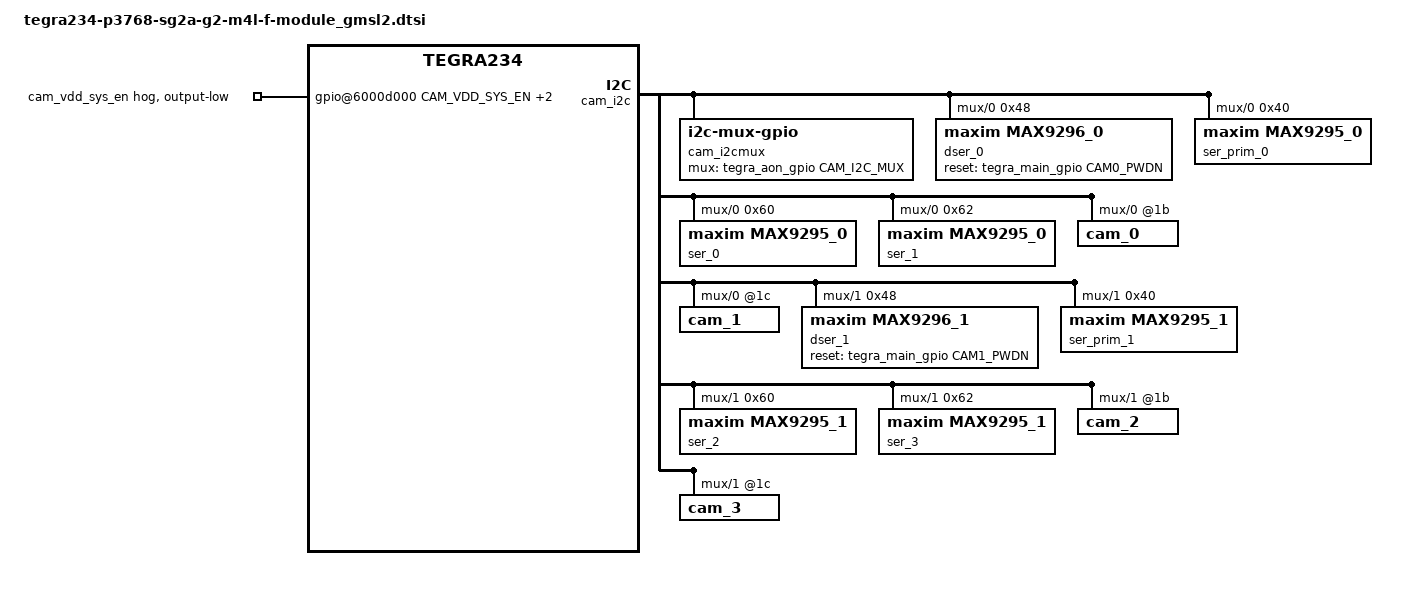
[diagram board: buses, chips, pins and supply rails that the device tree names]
/*
 * Copyright (c) 2018-2021, NVIDIA CORPORATION.  All rights reserved.
 *
 * This program is free software; you can redistribute it and/or modify it
 * under the terms and conditions of the GNU General Public License,
 * version 2, as published by the Free Software Foundation.
 *
 * This program is distributed in the hope it will be useful, but WITHOUT
 * ANY WARRANTY; without even the implied warranty of MERCHANTABILITY or
 * FITNESS FOR A PARTICULAR PURPOSE.  See the GNU General Public License for
 * more details.
 *
 * You should have received a copy of the GNU General Public License
 * along with this program.  If not, see <http://www.gnu.org/licenses/>.
 */

#include "dt-bindings/clock/tegra234-clock.h"

#if defined(SG8_AR0820C_GMSL2)
#include "sg8-ar0820c-gmsl2.dtsi"
#elif defined(SG8_IMX728C_GMSL2)
#include "sg8-imx728c-gmsl2.dtsi"
#elif defined(SG5_IMX490_GMSL2)
#include "sg5-imx490-gmsl2.dtsi"
#elif defined(SG2_AR0220_GMSL2)
#include "sg2-ar0220-gmsl2.dtsi"
#elif defined(SG1_TC358748_GMSL2)
#include "sg1-tc358748-gmsl2.dtsi"
#elif defined(SGX_YUV_GMSL2)
#include "sgx-yuv-gmsl2.dtsi"
#elif defined(SG8_IMX728C_G2G)
#include "sg8-imx728c-g2g.dtsi"
#include "sg3s-imx623c-gmsl2f.dtsi"
#endif

#define CAM_VDD_SYS_EN	TEGRA234_MAIN_GPIO(AC, 7)
#define CAM0_PWDN	TEGRA234_MAIN_GPIO(H, 6)
#define CAM1_PWDN	TEGRA234_MAIN_GPIO(AC, 0)
#define CAM_I2C_MUX 	TEGRA234_AON_GPIO(CC, 3)

/* camera control gpio definitions */
/ {

	gpio@6000d000 {
		camera-control-output-low {
			gpio-hog;
			output-low;
			gpios = <CAM_VDD_SYS_EN 0 CAM0_PWDN 0 CAM1_PWDN 0>;
			label = "cam_vdd_sys_en", "cam0-pwdn", "cam1-pwdn";
		};
	};
	
	cam_i2cmux {
		compatible = "i2c-mux-gpio";
		#address-cells = <1>;
		#size-cells = <0>;
		mux-gpios = <&tegra_aon_gpio CAM_I2C_MUX GPIO_ACTIVE_HIGH>;
		i2c-parent = <&cam_i2c>;

		i2c@0 {
			reg = <0>;
			#address-cells = <1>;
			#size-cells = <0>;
			dser_0: max9296_0@48 {
				compatible = "maxim,max9296_0";
				reg = <0x48>;
				csi-mode = "2x4";
				max-src = <2>;
				reset-gpios = <&tegra_main_gpio CAM0_PWDN GPIO_ACTIVE_HIGH>;
			};
			ser_prim_0: max9295_prim_0@40{
				compatible = "maxim,max9295_0";
				reg = <0x40>;
				is-prim-ser;
			};
			ser_0: max9295_0@60 {
				compatible = "maxim,max9295_0";
				reg = <0x60>;
				sensing,gmsl-dser-device = <&dser_0>;
			};
			ser_1: max9295_1@62 {
				compatible = "maxim,max9295_0";
				reg = <0x62>;
				sensing,gmsl-dser-device = <&dser_0>;
			};
			cam_0@1b {
				/* Define any required hw resources needed by driver */
				/* ie. clocks, io pins, power sources */
				clocks = <&bpmp_clks TEGRA234_CLK_EXTPERIPH1>,
						<&bpmp_clks TEGRA234_CLK_EXTPERIPH1>;
				clock-names = "extperiph1", "pllp_grtba";
				mclk = "extperiph1";
				sensing,gmsl-ser-device = <&ser_0>;
				sensing,gmsl-dser-device = <&dser_0>;
			};
			cam_1@1c {
				/* Define any required hw resources needed by driver */
				/* ie. clocks, io pins, power sources */
				clocks = <&bpmp_clks TEGRA234_CLK_EXTPERIPH1>,
						<&bpmp_clks TEGRA234_CLK_EXTPERIPH1>;
				clock-names = "extperiph1", "pllp_grtba";
				mclk = "extperiph1";
				sensing,gmsl-ser-device = <&ser_1>;
				sensing,gmsl-dser-device = <&dser_0>;
			};
		};

		i2c@1 {
			reg = <1>;
			#address-cells = <1>;
			#size-cells = <0>;
			dser_1: max9296_1@48 {
				compatible = "maxim,max9296_1";
				reg = <0x48>;
				csi-mode = "2x4";
				max-src = <2>;
				reset-gpios = <&tegra_main_gpio CAM1_PWDN GPIO_ACTIVE_HIGH>;
			};
			ser_prim_1: max9295_prim_0@40{
				compatible = "maxim,max9295_1";
				reg = <0x40>;
				is-prim-ser;
			};
			ser_2: max9295_2@60 {
				compatible = "maxim,max9295_1";
				reg = <0x60>;
				sensing,gmsl-dser-device = <&dser_1>;
			};
			ser_3: max9295_3@62 {
				compatible = "maxim,max9295_1";
				reg = <0x62>;
				sensing,gmsl-dser-device = <&dser_1>;
			};
			cam_2@1b {
				/* Define any required hw resources needed by driver */
				/* ie. clocks, io pins, power sources */
				clocks = <&bpmp_clks TEGRA234_CLK_EXTPERIPH1>,
						<&bpmp_clks TEGRA234_CLK_EXTPERIPH1>;
				clock-names = "extperiph1", "pllp_grtba";
				mclk = "extperiph1";
				sensing,gmsl-ser-device = <&ser_2>;
				sensing,gmsl-dser-device = <&dser_1>;
			};
			cam_3@1c {
				/* Define any required hw resources needed by driver */
				/* ie. clocks, io pins, power sources */
				clocks = <&bpmp_clks TEGRA234_CLK_EXTPERIPH1>,
						<&bpmp_clks TEGRA234_CLK_EXTPERIPH1>;
				clock-names = "extperiph1", "pllp_grtba";
				mclk = "extperiph1";
				sensing,gmsl-ser-device = <&ser_3>;
				sensing,gmsl-dser-device = <&dser_1>;
			};
		};
	};
};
